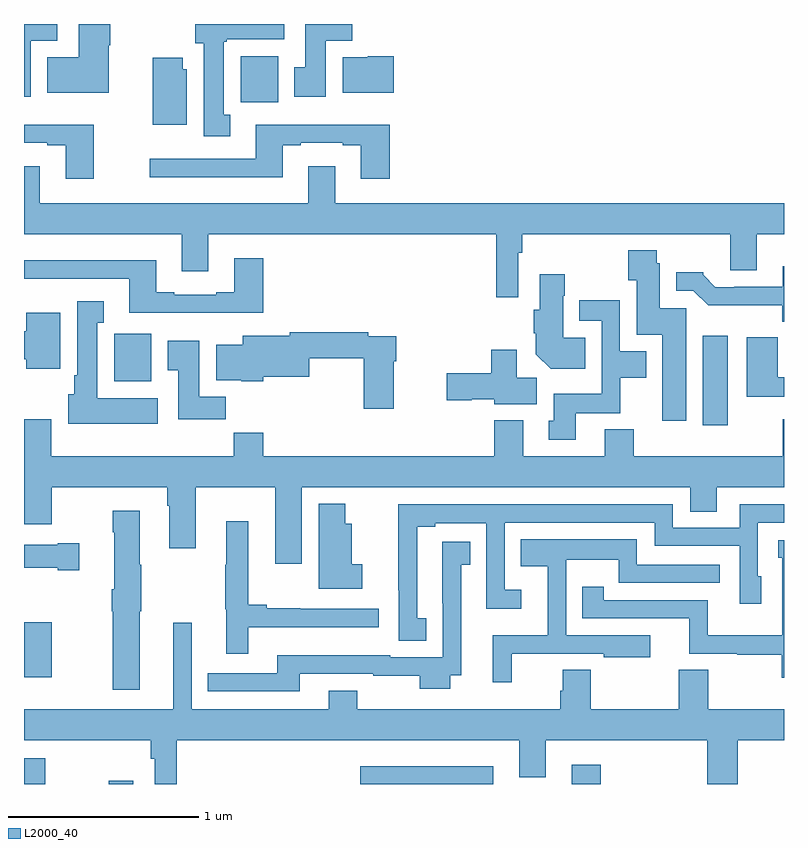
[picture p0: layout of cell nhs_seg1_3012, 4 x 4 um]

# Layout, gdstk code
import gdstk
lib = gdstk.Library(unit=1e-6, precision=1e-09)
def R(c, l, rs):  # rectangles x0, y0, x1, y1
    for r in rs: c.add(gdstk.rectangle(r[:2], r[2:], *l))
def P(c, l, *ps):  # polygons
    for p in ps: c.add(gdstk.Polygon(p, *l))
L2000_40 = (2000, 40)

nhs_seg1_3012 = lib.new_cell('nhs_seg1_3012')
R(nhs_seg1_3012, L2000_40, [(275,522.199,275.112,522.334), (275.446,522.199,275.575,522.217), (276.771,522.199,277.471,522.292), (277.883,522.199,278.036,522.301), (275,522.762,275.145,523.051), (278.573,524.088,278.704,524.557), (275.475,524.318,275.671,524.568), (276.14,525.788,276.337,526.03)])
P(nhs_seg1_3012, L2000_40, [(275.035,526.112),(275.174,526.112),(275.174,526.199),(275,526.199),(275,525.816),(275.035,525.816)],
  [(275.446,526.088),(275.454,526.088),(275.454,526.199),(275.288,526.199),(275.288,526.024),(275.123,526.024),(275.123,525.836),(275.446,525.836)],
  [(276.085,525.722),(276.052,525.722),(276.052,526.105),(276.066,526.105),(276.066,526.118),(276.37,526.118),(276.37,526.199),(275.9,526.199),(275.9,526.098),(275.945,526.098),(275.945,525.609),(276.085,525.609)],
  [(276.589,526.112),(276.728,526.112),(276.728,526.199),(276.479,526.199),(276.479,525.972),(276.422,525.972),(276.422,525.816),(276.589,525.816)],
  [(276.946,526.03),(276.81,526.03),(276.81,526.024),(276.677,526.024),(276.677,525.836),(276.946,525.836)],
  [(275.857,525.96),(275.836,525.96),(275.836,526.021),(275.678,526.021),(275.678,525.668),(275.857,525.668)],
  [(275.367,525.67),(275,525.67),(275,525.573),(275.123,525.573),(275.123,525.561),(275.219,525.561),(275.219,525.384),(275.367,525.384)],
  [(276.926,525.67),(276.221,525.67),(276.221,525.489),(275.661,525.489),(275.661,525.392),(276.361,525.392),(276.361,525.561),(276.457,525.561),(276.457,525.573),(276.677,525.573),(276.677,525.561),(276.773,525.561),(276.773,525.384),(276.926,525.384)],
  [(275.083,525.451),(275,525.451),(275,525.092),(275.831,525.092),(275.831,524.898),(275.971,524.898),(275.971,525.092),(277.486,525.092),(277.486,524.76),(277.602,524.76),(277.602,524.996),(277.622,524.996),(277.622,525.092),(278.717,525.092),(278.717,524.902),(278.857,524.902),(278.857,525.092),(279,525.092),(279,525.256),(276.637,525.256),(276.637,525.451),(276.497,525.451),(276.497,525.256),(275.083,525.256)],
  [(278.485,524.703),(278.347,524.703),(278.347,524.94),(278.331,524.94),(278.331,525.007),(278.179,525.007),(278.179,524.851),(278.225,524.851),(278.225,524.564),(278.36,524.564),(278.36,524.112),(278.485,524.112)],
  [(276.26,524.965),(276.107,524.965),(276.107,524.788),(276.011,524.788),(276.011,524.775),(275.791,524.775),(275.791,524.788),(275.695,524.788),(275.695,524.956),(275,524.956),(275,524.859),(275.555,524.859),(275.555,524.678),(276.26,524.678)],
  [(279,524.923),(278.993,524.923),(278.993,524.817),(278.737,524.817),(278.737,524.814),(278.638,524.814),(278.574,524.878),(278.574,524.893),(278.432,524.893),(278.432,524.796),(278.523,524.796),(278.602,524.718),(278.991,524.718),(278.991,524.633),(279,524.633)],
  [(277.955,524.548),(277.837,524.548),(277.837,524.768),(277.845,524.768),(277.845,524.881),(277.715,524.881),(277.715,524.694),(277.682,524.694),(277.682,524.572),(277.694,524.572),(277.694,524.462),(277.772,524.384),(277.955,524.384)],
  [(277.903,524.15),(278.139,524.15),(278.139,524.336),(278.275,524.336),(278.275,524.476),(278.136,524.476),(278.136,524.746),(277.923,524.746),(277.923,524.637),(278.04,524.637),(278.04,524.254),(277.787,524.254),(277.787,524.112),(277.763,524.112),(277.763,524.01),(277.903,524.01)],
  [(275.704,524.23),(275.386,524.23),(275.386,524.627),(275.419,524.627),(275.419,524.74),(275.279,524.74),(275.279,524.35),(275.264,524.35),(275.264,524.25),(275.234,524.25),(275.234,524.096),(275.704,524.096)],
  [(275.191,524.68),(275.012,524.68),(275.012,524.582),(275,524.582),(275,524.435),(275.012,524.435),(275.012,524.384),(275.191,524.384)],
  [(276.946,524.423),(276.959,524.423),(276.959,524.556),(276.812,524.556),(276.812,524.576),(276.398,524.576),(276.398,524.557),(276.152,524.557),(276.152,524.512),(276.011,524.512),(276.011,524.324),(276.144,524.324),(276.144,524.318),(276.258,524.318),(276.258,524.342),(276.502,524.342),(276.502,524.44),(276.788,524.44),(276.788,524.175),(276.946,524.175)],
  [(279,524.339),(278.966,524.339),(278.966,524.551),(278.804,524.551),(278.804,524.238),(279,524.238)],
  [(276.062,524.236),(275.923,524.236),(275.923,524.533),(275.756,524.533),(275.756,524.377),(275.813,524.377),(275.813,524.118),(276.062,524.118)],
  [(277.699,524.336),(277.594,524.336),(277.594,524.485),(277.46,524.485),(277.46,524.36),(277.224,524.36),(277.224,524.218),(277.356,524.218),(277.356,524.225),(277.476,524.225),(277.476,524.198),(277.699,524.198)],
  [(278.21,524.065),(278.057,524.065),(278.057,523.924),(277.627,523.924),(277.627,524.113),(277.475,524.113),(277.475,523.924),(276.26,523.924),(276.26,524.048),(276.103,524.048),(276.103,523.924),(275.143,523.924),(275.143,524.119),(275,524.119),(275,523.566),(275.145,523.566),(275.145,523.76),(275.753,523.76),(275.753,523.664),(275.765,523.664),(275.765,523.44),(275.905,523.44),(275.905,523.76),(276.323,523.76),(276.323,523.359),(276.463,523.359),(276.463,523.76),(278.507,523.76),(278.507,523.633),(278.647,523.633),(278.647,523.76),(279,523.76),(279,524.119),(278.993,524.119),(278.993,523.924),(278.21,523.924)],
  [(276.781,523.356),(276.724,523.356),(276.724,523.57),(276.691,523.57),(276.691,523.675),(276.551,523.675),(276.551,523.226),(276.781,523.226)],
  [(277.118,523.071),(277.069,523.071),(277.069,523.554),(277.165,523.554),(277.165,523.571),(277.434,523.571),(277.434,523.121),(277.618,523.121),(277.618,523.222),(277.53,523.222),(277.53,523.575),(278.319,523.575),(278.319,523.452),(278.766,523.452),(278.766,523.149),(278.881,523.149),(278.881,523.293),(278.862,523.293),(278.862,523.575),(279,523.575),(279,523.671),(278.766,523.671),(278.766,523.548),(278.415,523.548),(278.415,523.671),(277.427,523.671),(277.427,523.672),(276.97,523.672),(276.97,523.219),(276.972,523.219),(276.972,522.952),(277.118,522.952)],
  [(275.608,523.108),(275.616,523.108),(275.616,523.352),(275.608,523.352),(275.608,523.636),(275.467,523.636),(275.467,523.523),(275.474,523.523),(275.474,523.223),(275.462,523.223),(275.462,523.108),(275.467,523.108),(275.467,522.696),(275.608,522.696)],
  [(276.181,523.025),(276.868,523.025),(276.868,523.122),(276.455,523.122),(276.455,523.125),(276.277,523.125),(276.277,523.142),(276.181,523.142),(276.181,523.582),(276.065,523.582),(276.065,523.352),(276.058,523.352),(276.058,523.119),(276.065,523.119),(276.065,522.885),(276.181,522.885)],
  [(277.568,522.885),(278.051,522.885),(278.051,522.866),(278.296,522.866),(278.296,522.981),(277.854,522.981),(277.854,523.379),(278.13,523.379),(278.13,523.258),(278.233,523.258),(278.233,523.257),(278.662,523.257),(278.662,523.353),(278.226,523.353),(278.226,523.486),(277.615,523.486),(277.615,523.346),(277.757,523.346),(277.757,522.982),(277.466,522.982),(277.466,522.735),(277.568,522.735)],
  [(279,523.482),(278.969,523.482),(278.969,523.389),(278.99,523.389),(278.99,522.982),(278.599,522.982),(278.599,523.167),(278.052,523.167),(278.052,523.237),(277.939,523.237),(277.939,523.071),(278.501,523.071),(278.501,522.885),(278.754,522.885),(278.754,522.88),(278.988,522.88),(278.988,522.758),(279,522.758)],
  [(276.451,522.78),(276.837,522.78),(276.837,522.77),(277.084,522.77),(277.084,522.701),(277.243,522.701),(277.243,522.771),(277.3,522.771),(277.3,523.353),(277.349,523.353),(277.349,523.474),(277.202,523.474),(277.202,523.15),(277.203,523.15),(277.203,522.867),(276.927,522.867),(276.927,522.877),(276.332,522.877),(276.332,522.783),(275.968,522.783),(275.968,522.687),(276.451,522.687)],
  [(275.29,523.467),(275.177,523.467),(275.177,523.459),(275,523.459),(275,523.337),(275.177,523.337),(275.177,523.325),(275.29,523.325)],
  [(276.753,522.691),(276.605,522.691),(276.605,522.592),(275.883,522.592),(275.883,523.048),(275.786,523.048),(275.786,522.592),(275,522.592),(275,522.428),(275.668,522.428),(275.668,522.332),(275.688,522.332),(275.688,522.199),(275.804,522.199),(275.804,522.428),(277.607,522.428),(277.607,522.234),(277.747,522.234),(277.747,522.428),(278.597,522.428),(278.597,522.199),(278.757,522.199),(278.757,522.428),(279,522.428),(279,522.592),(278.601,522.592),(278.601,522.8),(278.446,522.8),(278.446,522.592),(277.983,522.592),(277.983,522.8),(277.835,522.8),(277.835,522.69),(277.823,522.69),(277.823,522.592),(276.753,522.592)])

lib.write_gds('nhs_seg1_3012.gds')
